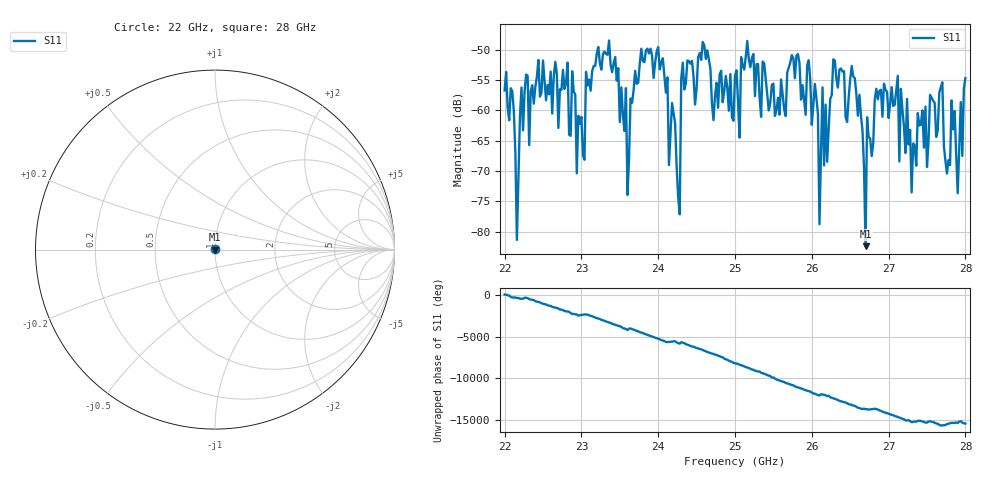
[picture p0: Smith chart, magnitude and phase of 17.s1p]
#  HZ  S  RI  R  50.00
! Rohde & Schwarz ZVA40 4Ports - Version 3.90 - 1145.1110k42 SN: 100403
! Date: 2023-10-04 07:02:55
! Measurement: S12
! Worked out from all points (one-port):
!   301 points, 22 GHz to 28 GHz, reference 50 ohm
!   lowest |S11| = -82.4 dB at 26.7 GHz (marker M1), VSWR 1.00, Z = 50 + j0.00013 ohm
!   |S11| at or under -10 dB: start of sweep to end of sweep
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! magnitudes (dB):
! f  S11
! 22 GHz  -56.7
! 22.1 GHz  -56.9
! 22.16 GHz  -81.4
! 22.22 GHz  -56.2
! 22.76 GHz  -53.3
! 22.94 GHz  -70.4
! 23.22 GHz  -49.5
! 23.5 GHz  -61.9
! 23.58 GHz  -56.3
! 23.6 GHz  -74.0
! 23.7 GHz  -53.5
! 24 GHz  -49.5
! 24.26 GHz  -74.3
! 24.32 GHz  -52.1
! 25 GHz  -54.2
! 25.76 GHz  -51.4
! 26.04 GHz  -55.6
! 26.1 GHz  -78.8
! 26.14 GHz  -56.2
! 26.16 GHz  -69.1
! 26.5 GHz  -54.8
! 26.7 GHz  -82.4
! 26.72 GHz  -61.1
! 26.84 GHz  -56.4
! 27.26 GHz  -65.6
! 27.7 GHz  -55.4
! 27.9 GHz  -73.7
! 28 GHz  -54.7
